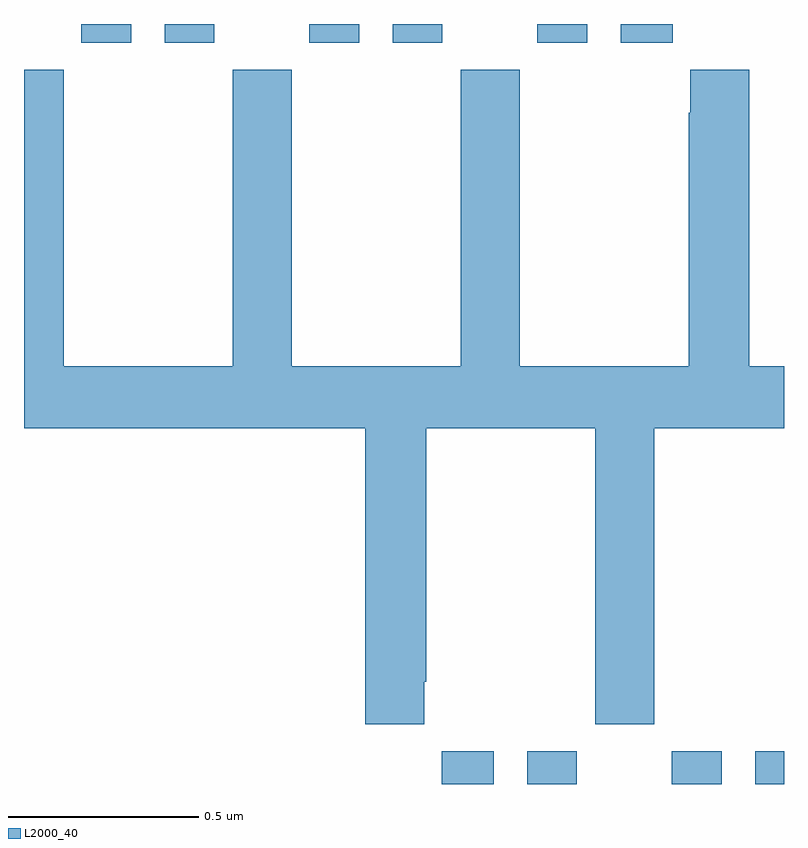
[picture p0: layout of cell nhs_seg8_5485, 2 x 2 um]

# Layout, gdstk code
import gdstk
lib = gdstk.Library(unit=1e-6, precision=1e-09)
def R(c, l, rs):  # rectangles x0, y0, x1, y1
    for r in rs: c.add(gdstk.rectangle(r[:2], r[2:], *l))
def P(c, l, *ps):  # polygons
    for p in ps: c.add(gdstk.Polygon(p, *l))
L2000_40 = (2000, 40)

nhs_seg8_5485 = lib.new_cell('nhs_seg8_5485')
R(nhs_seg8_5485, L2000_40, [(185.099,1112.9,185.236,1112.986), (185.324,1112.9,185.455,1112.986), (185.705,1112.9,185.836,1112.986), (185.924,1112.9,186,1112.986), (184.151,1114.851,184.282,1114.9), (184.37,1114.851,184.501,1114.9), (184.751,1114.851,184.882,1114.9), (184.97,1114.851,185.101,1114.9), (185.351,1114.851,185.482,1114.9), (185.57,1114.851,185.707,1114.9)])
P(nhs_seg8_5485, L2000_40, [(186,1114),(185.909,1114),(185.909,1114.78),(185.753,1114.78),(185.753,1114.667),(185.749,1114.667),(185.749,1114),(185.304,1114),(185.304,1114.78),(185.149,1114.78),(185.149,1114),(184.704,1114),(184.704,1114.78),(184.549,1114.78),(184.549,1114),(184.104,1114),(184.104,1114.78),(184,1114.78),(184,1113.836),(184.898,1113.836),(184.898,1113.057),(185.053,1113.057),(185.053,1113.169),(185.058,1113.169),(185.058,1113.836),(185.503,1113.836),(185.503,1113.057),(185.658,1113.057),(185.658,1113.836),(186,1113.836)])

lib.write_gds('nhs_seg8_5485.gds')
